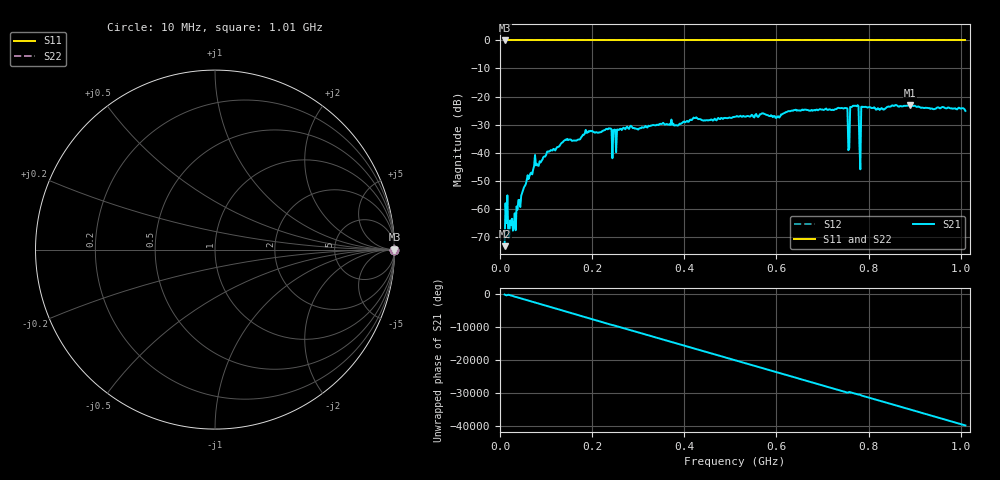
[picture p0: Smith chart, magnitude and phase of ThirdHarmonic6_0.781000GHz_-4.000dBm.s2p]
! 8/16/2025 2:03:52 AM
! C:\ANRITSUVNA\TEMP\TEMP.S2P
! CHANNEL.1
! TR.MEASUREMENT
! RAW.DATA
! RF.CORRECTION.OFF
! AVERAGING.OFF
! IF.BANDWIDTH: 5KHZ
! SWEEPTYPE:  FREQ.SWEEP(Linear)
! Reference Plane Port Info
! PORT:  PORT1  PORT2
! DISTANCE:  0  m  0  m
! TIME:  0  s  0  s
! PHASE.OFFSET:  0  deg.  0  deg.
! LOSS:  0  dB  0  dB
! REF.LOSS:  0  dB  0  dB
! REF.FREQ:  0  Hz  0  Hz
! Power Info
! POWER:  -20  dBm  -20  dBm
! EFF.POWER:  -20  dBm  -20  dBm
! SOURCE.ATTEN:  0  dB  0  dB
! TEST.ATTEN:  0  dB  0  dB
# GHZ S RI R 50.0
! FREQ.GHZ  S11RE  S11IM  S21RE  S21IM  S12RE  S12IM  S22RE  S22IM
!; PortSelection: Port_12
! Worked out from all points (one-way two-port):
!   501 points, 10 MHz to 1.01 GHz, reference 50 ohm
!   highest |S21| = -22.97 dB at 890 MHz (marker M1); lowest = -73.4 dB at 10 MHz (marker M2)
!   lowest |S11| = 0.0 dB at 10 MHz (marker M3)
!   |S11| at or under -10 dB: nowhere
!   |S22| runs from 0.0 to 0.0 dB; largest |S21 - S12| = 1.1
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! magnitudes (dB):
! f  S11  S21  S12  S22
! 10 MHz  0.0  -73.4  0.0  0.0
! 16 MHz  0.0  -55.3  0.0  0.0
! 30 MHz  0.0  -66.1  0.0  0.0
! 76 MHz  0.0  -40.9  0.0  0.0
! 178 MHz  0.0  -34.2  0.0  0.0
! 238 MHz  0.0  -31.4  0.0  0.0
! 248 MHz  0.0  -31.8  0.0  0.0
! 258 MHz  0.0  -31.9  0.0  0.0
! 344 MHz  0.0  -30.2  0.0  0.0
! 510 MHz  0.0  -27.2  0.0  0.0
! 678 MHz  0.0  -25.1  0.0  0.0
! 750 MHz  0.0  -24.1  0.0  0.0
! 754 MHz  0.0  -24.3  0.0  0.0
! 760 MHz  0.0  -23.7  0.0  0.0
! 764 MHz  0.0  -23.6  0.0  0.0
! 774 MHz  0.0  -23.5  0.0  0.0
! 778 MHz  0.0  -23.4  0.0  0.0
! 784 MHz  0.0  -23.7  0.0  0.0
! 788 MHz  0.0  -23.7  0.0  0.0
! 844 MHz  0.0  -23.6  0.0  0.0
! 890 MHz  0.0  -23.0  0.0  0.0
! 1.01 GHz  0.0  -25.1  0.0  0.0
